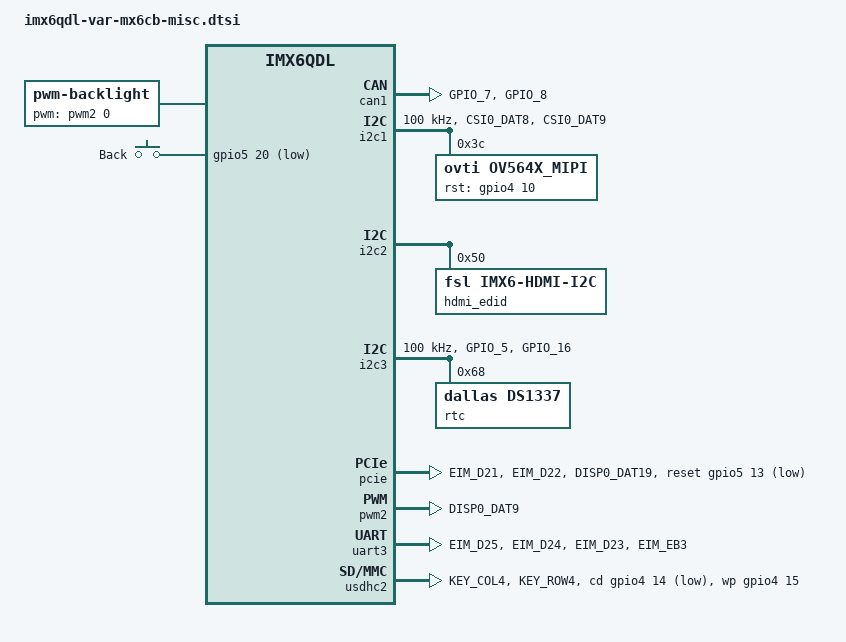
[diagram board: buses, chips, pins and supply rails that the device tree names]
/*
 * Copyright (C) 2015-2017 Variscite Ltd.
 *
 * This program is free software; you can redistribute it and/or modify
 * it under the terms of the GNU General Public License version 2 as
 * published by the Free Software Foundation.
 *
 * Settings for VAR-MX6CustomBoard
 */

/ {
	backlight {
		compatible = "pwm-backlight";
		pwms = <&pwm2 0 50000>;
		brightness-levels = <0 4 8 16 32 64 128 248>;
		default-brightness-level = <7>;
		status = "okay";
	};

	/* Buttons in the motherboard */
	gpio-keys {
		compatible = "gpio-keys";
		pinctrl-names = "default";
		pinctrl-0 = <&pinctrl_gpio_keys>;

		back {
			label = "Back";
			gpios = <&gpio5 20 GPIO_ACTIVE_LOW>;
			linux,code = <KEY_BACK>; /* KEY_BACK */
			gpio-key,wakeup;
		};
	};
};

&can1 {
	pinctrl-names = "default";
	pinctrl-0 = <&pinctrl_flexcan1>;
	status = "okay";
};

&i2c1 {
	clock-frequency = <100000>;
	pinctrl-names = "default";
	pinctrl-0 = <&pinctrl_i2c1>;
	status = "okay";

	ov564x_mipi: ov564x_mipi@3c {
		compatible = "ovti,ov564x_mipi";
		reg = <0x3c>;
		pinctrl-names = "default";
		pinctrl-0 = <&pinctrl_ov564x_mipi>;
		clocks = <&clks IMX6QDL_CLK_CKO2>;
		clock-names = "csi_mclk";
		rst-gpios = <&gpio4 10 GPIO_ACTIVE_HIGH>;
		csi_id = <1>;
		mclk = <24000000>;
		mclk_source = <0>;
	};
};

&i2c2 {
	hdmi_edid: edid@50 {
		compatible = "fsl,imx6-hdmi-i2c";
		reg = <0x50>;
	};
};

&i2c3 {
	clock-frequency = <100000>;
	pinctrl-names = "default";
	pinctrl-0 = <&pinctrl_i2c3>;
	status = "okay";

	/* Touch */
	cap_touch: ft5x06_ts@38 {
		compatible = "edt,edt-ft5x06";
		reg = <0x38>;
		pinctrl-names = "default";
		pinctrl-0 = <&pinctrl_ft5x06>;
		interrupt-parent = <&gpio3>;
		interrupts = <7 0>;
		status = "disabled";
	};

	/* DS1337 RTC module */
	rtc@68 {
		compatible = "dallas,ds1337";
		reg = <0x68>;
	};
};

&iomuxc {
	imx6qdl-var-som-mx6 {
		pinctrl_flexcan1: flexcan1grp {
			fsl,pins = <
				MX6QDL_PAD_GPIO_7__FLEXCAN1_TX		0x80000000
				MX6QDL_PAD_GPIO_8__FLEXCAN1_RX		0x80000000
			>;
		};

		pinctrl_ft5x06: ft5x06grp {
			fsl,pins = <
				MX6QDL_PAD_EIM_DA7__GPIO3_IO07	0x80000000
			>;
		};

		pinctrl_gpio_keys: gpiokeysgrp {
			fsl,pins = <
				/* user button */
				MX6QDL_PAD_CSI0_DATA_EN__GPIO5_IO20 	0x17059
			>;
		};

		pinctrl_i2c1: i2c1grp {
			fsl,pins = <
				MX6QDL_PAD_CSI0_DAT8__I2C1_SDA		0x4001b8b1
				MX6QDL_PAD_CSI0_DAT9__I2C1_SCL		0x4001b8b1
			>;
		};

		pinctrl_i2c3: i2c3grp {
			fsl,pins = <
				MX6QDL_PAD_GPIO_5__I2C3_SCL		0x4001b8b1
				MX6QDL_PAD_GPIO_16__I2C3_SDA		0x4001b8b1
			>;
		};

		pinctrl_ov564x_mipi: ov564xmipigrp {
			fsl,pins = <
				/* Camera Clock */
				MX6QDL_PAD_GPIO_3__CCM_CLKO2		0x130b0
				/* Camera enable */
				MX6QDL_PAD_KEY_COL2__GPIO4_IO10		0x80000000
			>;
		};

		pinctrl_pcie: pciegrp {
			fsl,pins = <
				MX6QDL_PAD_EIM_D21__GPIO3_IO21		0x80000000 /* disable# */
				MX6QDL_PAD_EIM_D22__GPIO3_IO22		0x80000000 /* wake# */
				MX6QDL_PAD_DISP0_DAT19__GPIO5_IO13	0x80000000 /* reset# */
			>;
		};

		pinctrl_pwm2: pwm2grp {
			fsl,pins = <
				MX6QDL_PAD_DISP0_DAT9__PWM2_OUT		0x1b0b1
			>;
		};

		/* Variscite Uart3 support */
		pinctrl_uart3: uart3grp {	/* RX/TX RTS/CTS */
			fsl,pins = <
				MX6QDL_PAD_EIM_D25__UART3_RX_DATA	0x1b0b1
				MX6QDL_PAD_EIM_D24__UART3_TX_DATA	0x1b0b1
				MX6QDL_PAD_EIM_D23__UART3_CTS_B		0x1b0b1
				MX6QDL_PAD_EIM_EB3__UART3_RTS_B		0x1b0b1
			>;
		};

		pinctrl_usdhc2_gpio: usdhc2gpiogrp {
			fsl,pins = <
				/* SDMMC2 CD/WP */
				MX6QDL_PAD_KEY_COL4__GPIO4_IO14		0x80000000
				MX6QDL_PAD_KEY_ROW4__GPIO4_IO15		0x80000000
			>;
		};
	};
};

&pcie {
	pinctrl-names = "default";
	pinctrl-0 = <&pinctrl_pcie>;
	disable-gpio  = <&gpio3 21 GPIO_ACTIVE_LOW>;
	reset-gpio    = <&gpio5 13 GPIO_ACTIVE_LOW>;
	status = "okay";
};

&pwm2 {
	pinctrl-names = "default";
	pinctrl-0 = <&pinctrl_pwm2>;
	status = "okay";
};

/* ttymxc2 UART */
&uart3 {
	pinctrl-names = "default";
	pinctrl-0 = <&pinctrl_uart3>;
	uart-has-rtscts;
	status = "okay";
};

&usdhc2 {	/* uSDHC2, MMC/SD card */
	pinctrl-names = "default";
	pinctrl-0 = <&pinctrl_usdhc2>, <&pinctrl_usdhc2_gpio>;
	cd-gpios = <&gpio4 14 GPIO_ACTIVE_LOW>;
	wp-gpios = <&gpio4 15 GPIO_ACTIVE_HIGH>;
	no-1-8-v;
	keep-power-in-suspend;
	enable-sdio-wakeup;
	status = "okay";
};
